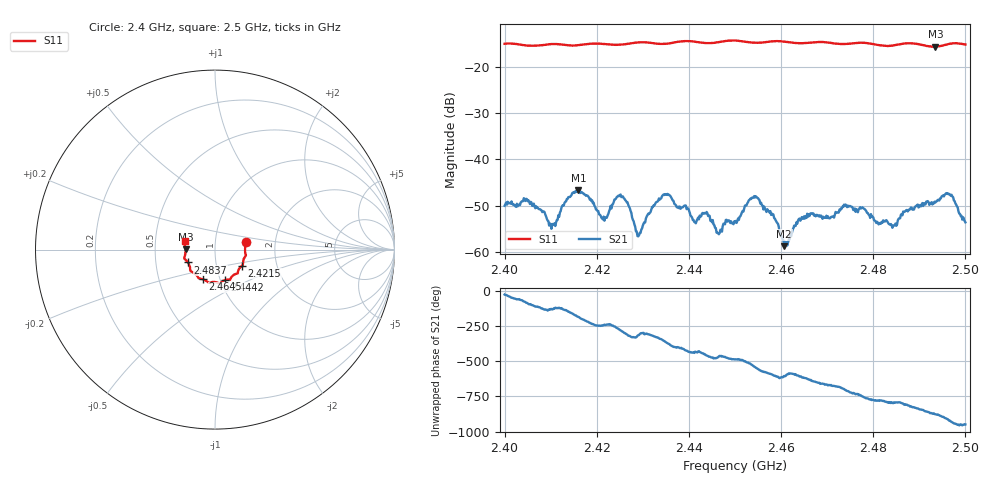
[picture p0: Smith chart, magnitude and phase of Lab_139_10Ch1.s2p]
# Hz S RI R 50
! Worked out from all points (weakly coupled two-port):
!   601 points, 2.4 GHz to 2.5 GHz, reference 50 ohm
!   highest |S21| = -46.62 dB at 2.416 GHz (marker M1); lowest = -58.7 dB at 2.4607 GHz (marker M2)
!   lowest |S11| = -15.7 dB at 2.4935 GHz (marker M3), VSWR 1.39, Z = 35.9 + j0.283 ohm
!   |S11| at or under -10 dB: start of sweep to end of sweep
!   S12 and S22 are empty: the file has one direction only
!   S11 on the Smith chart (normalised r, x): 2.4 GHz: 1.41, +0.12; 2.4215 GHz: 1.33, -0.25; 2.4442 GHz: 1.05, -0.37; 2.4645 GHz: 0.83, -0.29; 2.4837 GHz: 0.73, -0.11; 2.5 GHz: 0.71, +0.07
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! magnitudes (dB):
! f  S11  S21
! 2.4 GHz  -15.1  -50.0
! 2.4047 GHz  -15.5  -48.5
! 2.4105 GHz  -15.1  -53.9
! 2.416 GHz  -15.4  -46.6
! 2.4167 GHz  -15.3  -47.1
! 2.4215 GHz  -15.1  -52.3
! 2.4253 GHz  -15.3  -48.1
! 2.4292 GHz  -14.8  -56.4
! 2.4333 GHz  -15.1  -48.9
! 2.4442 GHz  -15.0  -52.2
! 2.4465 GHz  -14.7  -56.1
! 2.45 GHz  -14.4  -53.6
! 2.4547 GHz  -14.9  -48.1
! 2.4607 GHz  -14.6  -58.7
! 2.4645 GHz  -15.0  -52.4
! 2.4667 GHz  -14.8  -51.6
! 2.4742 GHz  -15.1  -49.9
! 2.4833 GHz  -15.6  -53.9
! 2.4837 GHz  -15.5  -54.1
! 2.4935 GHz  -15.7  -49.3
! 2.4967 GHz  -15.1  -47.6
! 2.5 GHz  -15.2  -53.6
